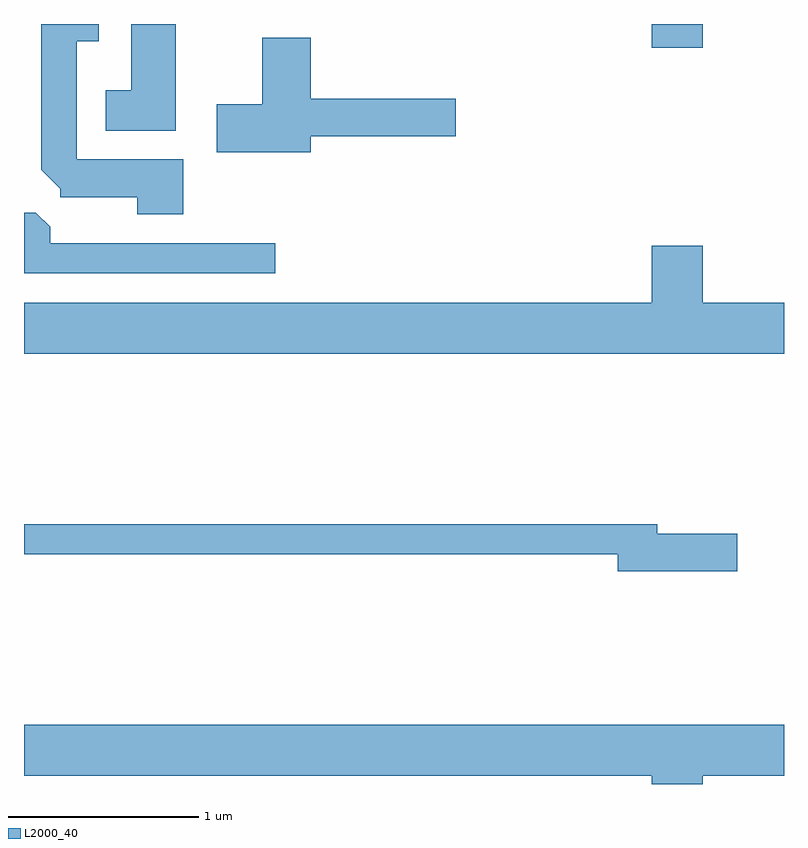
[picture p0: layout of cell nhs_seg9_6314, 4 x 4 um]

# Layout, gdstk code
import gdstk
lib = gdstk.Library(unit=1e-6, precision=1e-09)
def R(c, l, rs):  # rectangles x0, y0, x1, y1
    for r in rs: c.add(gdstk.rectangle(r[:2], r[2:], *l))
def P(c, l, *ps):  # polygons
    for p in ps: c.add(gdstk.Polygon(p, *l))
L2000_40 = (2000, 40)

nhs_seg9_6314 = lib.new_cell('nhs_seg9_6314')
R(nhs_seg9_6314, L2000_40, [(374.916,2002.306,375.184,2002.432)])
P(nhs_seg9_6314, L2000_40, [(372.409,2002.432),(372.176,2002.432),(372.176,2002.084),(372.041,2002.084),(372.041,2001.871),(372.409,2001.871)],
  [(372.449,2001.719),(371.889,2001.719),(371.889,2002.341),(372.004,2002.341),(372.004,2002.432),(371.701,2002.432),(371.701,2001.664),(371.801,2001.564),(371.801,2001.521),(372.206,2001.521),(372.206,2001.431),(372.449,2001.431)],
  [(373.119,2001.841),(373.884,2001.841),(373.884,2002.039),(373.119,2002.039),(373.119,2002.359),(372.866,2002.359),(372.866,2002.009),(372.626,2002.009),(372.626,2001.756),(373.119,2001.756)],
  [(372.933,2001.279),(371.749,2001.279),(371.749,2001.364),(371.674,2001.439),(371.611,2001.439),(371.611,2001.121),(372.933,2001.121)],
  [(375.611,2000.964),(375.184,2000.964),(375.184,2001.264),(374.916,2001.264),(374.916,2000.964),(371.611,2000.964),(371.611,2000.696),(375.611,2000.696)],
  [(375.364,1999.749),(374.944,1999.749),(374.944,1999.799),(371.611,1999.799),(371.611,1999.641),(374.736,1999.641),(374.736,1999.551),(375.364,1999.551)],
  [(375.184,1998.476),(375.611,1998.476),(375.611,1998.744),(371.611,1998.744),(371.611,1998.476),(374.916,1998.476),(374.916,1998.432),(375.184,1998.432)])

lib.write_gds('nhs_seg9_6314.gds')
